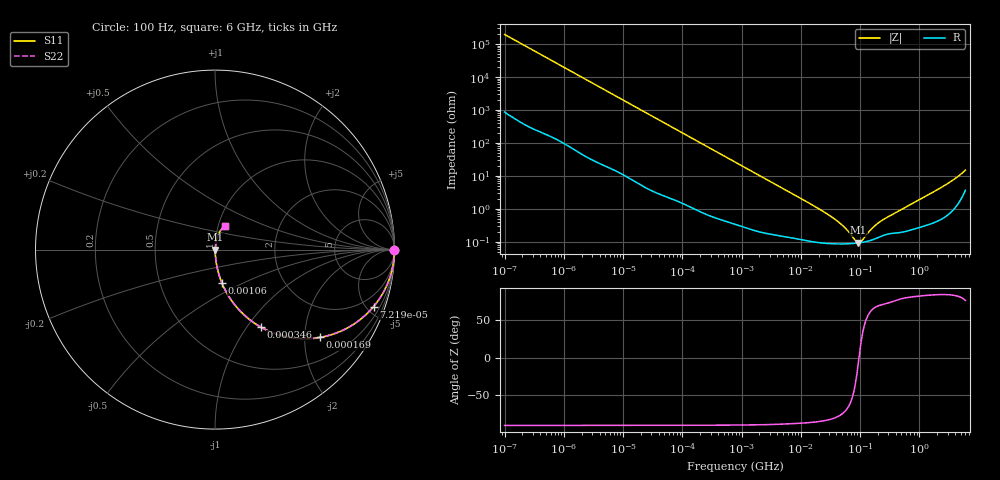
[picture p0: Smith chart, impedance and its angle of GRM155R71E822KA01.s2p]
!Murata Part Number: GRM155R71E822KA01
!These Parameters are Measured in Series Mode Connection
!Data Generated on Mar 30, 2021
!  o--ll--o
!Port1  Port2
!  o------o
!Operation Temp=25[degC], DC Bias Voltage=0[V]
!Freq. Start=100[Hz] Stop=6[GHz] 401[Steps]
# Hz S RI R 50
!Freq.(Hz) S11(Real) S11(Imag) S21(Real) S21(Imag) S12(Real) S12(Imag) S22(Real) S22(Imag)
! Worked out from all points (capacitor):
!   401 points, 100 Hz to 6 GHz, reference 50 ohm
!   read as one part in series: C = 8.1 nF near 109 Hz
!   lowest |Z| = 92.2 mohm at 93.27 MHz (marker M1)
!   series resonance near 95.96 MHz, so ESL is about 340 pH
!   S11 on the Smith chart (normalised r, x): 100 Hz: open; 72.19 kHz: 1.04, -5.55; 169 kHz: 1.02, -2.38; 346 kHz: 1.01, -1.17; 1.06 MHz: 1.01, -0.38; 6 GHz: 1.07, +0.29
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100  1 -0.000509  2.5e-06 0.000509  2.5e-06 0.000509  1 -0.000509
2008  0.9999 -0.0101  0.000149 0.0101  0.000149 0.0101  0.9999 -0.0101
12592  0.9957 -0.0629  0.00432 0.0629  0.00432 0.0629  0.9957 -0.0629
40335  0.9598 -0.1935  0.0402 0.1935  0.0402 0.1935  0.9598 -0.1935
72189  0.8833 -0.3177  0.1167 0.3177  0.1167 0.3177  0.8833 -0.3177
108014  0.7736 -0.4148  0.2264 0.4148  0.2264 0.4148  0.7736 -0.4148
169018  0.5852 -0.4888  0.4148 0.4888  0.4148 0.4888  0.5852 -0.4888
241822  0.4101 -0.4877  0.5899 0.4877  0.5899 0.4877  0.4101 -0.4877
345986  0.2555 -0.4315  0.7445 0.4315  0.7445 0.4315  0.2555 -0.4315
774597  0.0667 -0.2431  0.9333 0.2431  0.9333 0.2431  0.0667 -0.2431
1059725  0.0379 -0.1837  0.9621 0.1837  0.9621 0.1837  0.0379 -0.1837
3103719  0.00596 -0.0653  0.994 0.0653  0.994 0.0653  0.00596 -0.0653
1.555665e7  0.00117 -0.013  0.9988 0.013  0.9988 0.013  0.00117 -0.013
4.35672e7  0.000868 -0.00382  0.9991 0.00382  0.9991 0.00382  0.000868 -0.00382
5.960426e7  0.000864 -0.00216  0.9991 0.00216  0.9991 0.00216  0.000864 -0.00216
8.527865e7  0.000896 -0.000514  0.9991 0.000514  0.9991 0.000514  0.000896 -0.000514
9.326766e7  0.000913 -0.000123  0.9991 0.000123  0.9991 0.000123  0.000913 -0.000123
1.066761e8  0.000945 0.000462  0.9991 -0.000462  0.9991 -0.000462  0.000945 0.000462
1.825626e8  0.00124 0.00292  0.9988 -0.00292  0.9988 -0.00292  0.00124 0.00292
3.124326e8  0.00177 0.00569  0.9982 -0.00569  0.9982 -0.00569  0.00177 0.00569
2.34314e9  0.00664 0.0434  0.9934 -0.0434  0.9934 -0.0434  0.00664 0.0434
6e9  0.0535 0.132  0.9465 -0.132  0.9465 -0.132  0.0535 0.132
